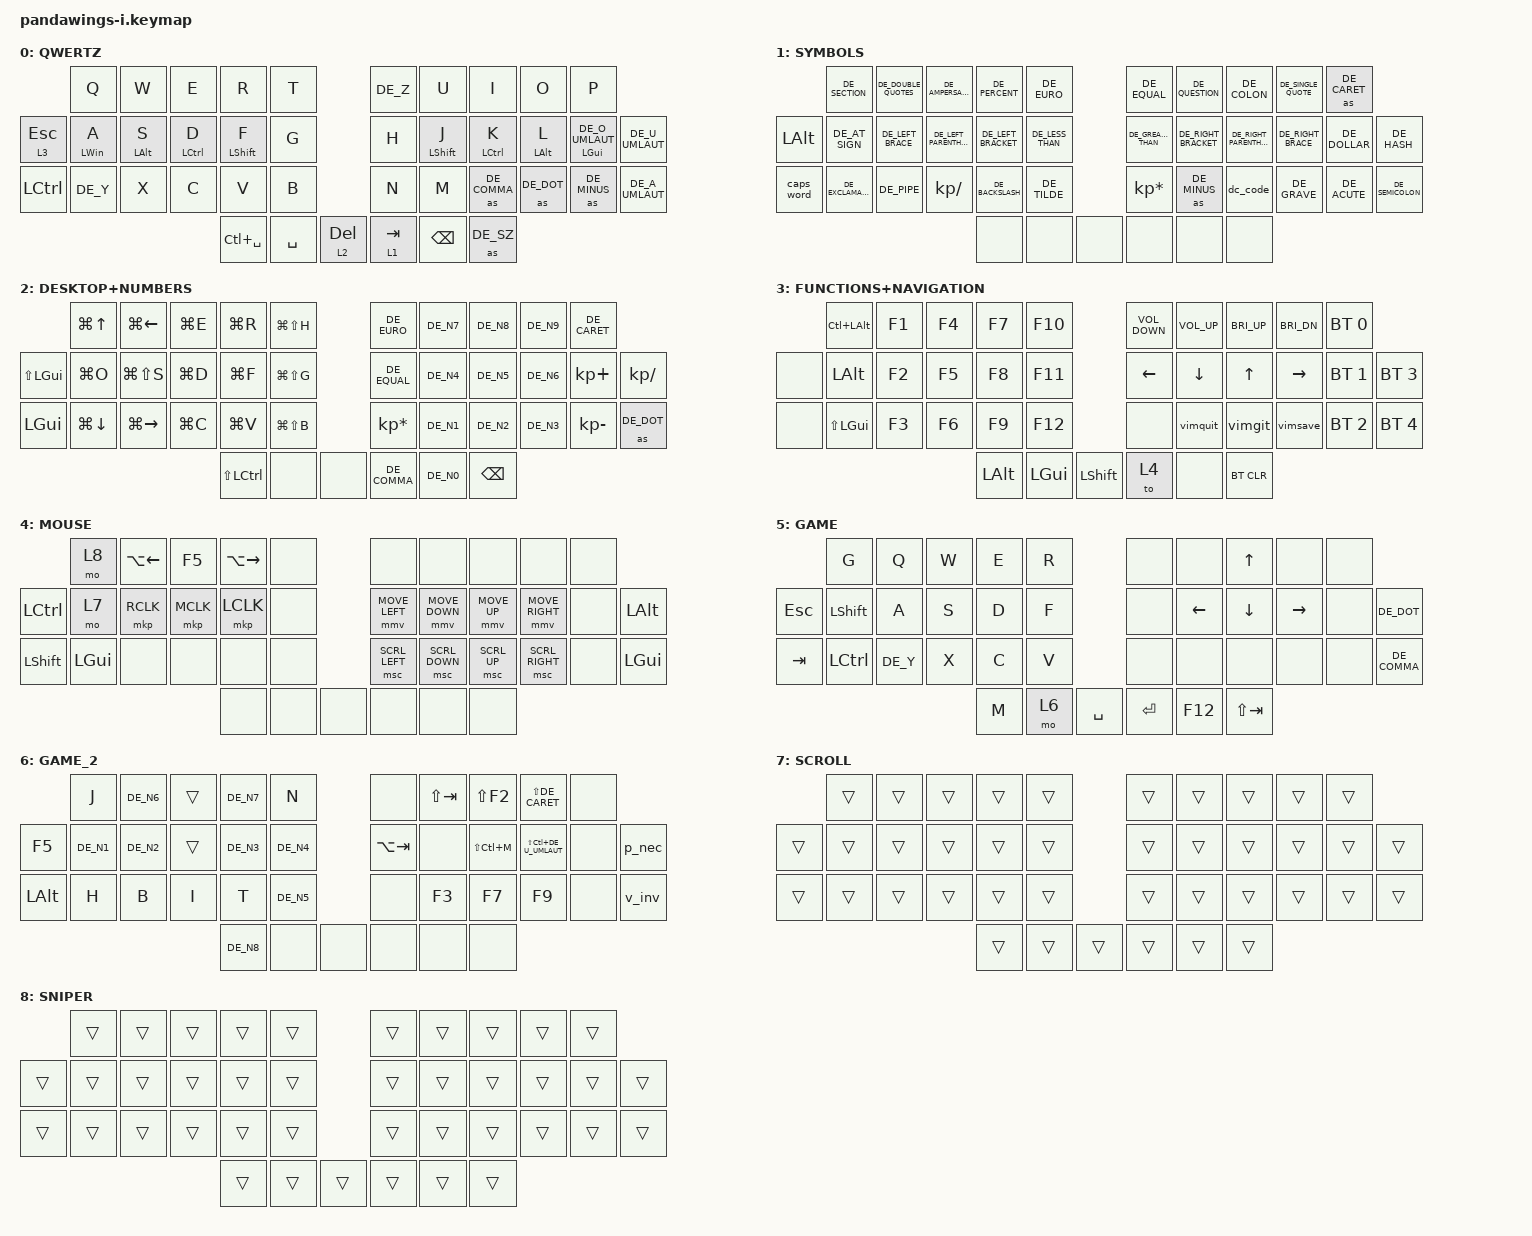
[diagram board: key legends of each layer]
#include <locale/keys_de.h>
#include <behaviors.dtsi>
#include <dt-bindings/zmk/bt.h>
#include <dt-bindings/zmk/keys.h>
#include <dt-bindings/zmk/pointing.h>
#include "keys_de.h"

#define ZMK_POINTING_DEFAULT_MOVE_VAL 800   // default: 600
#define ZMK_POINTING_DEFAULT_SCRL_VAL 10    // default: 10

// --- Some Links:
// https://github.com/urob/zmk-config#timeless-homerow-mods
// &lt &mt from https://github.com/urob/zmk-config/blob/main/config/base.keymap
// Hold-Tap behaviors: hold-preferred, balanced, tap-preferred, tap-unless-interrupted

&caps_word { continue-list = <DELETE DEL BACKSPACE MINUS KP_MINUS SLASH QUESTION SEMICOLON LEFT_BRACKET RIGHT_BRACKET LEFT_BRACE RIGHT_BRACE SINGLE_QUOTE DE_A_UMLAUT DE_O_UMLAUT DE_U_UMLAUT>; };

&lt { flavor = "hold-preferred"; };

&sk {
    quick-release;
    lazy;
};

/ {
    behaviors {
        ht_as: autoshift_hold_tap {
            compatible = "zmk,behavior-hold-tap";
            #binding-cells = <2>;
            tapping-term-ms = <200>;
            bindings = <&shifted>, <&kp>;
        };

        hmo: homerow_mods_others {
            compatible = "zmk,behavior-hold-tap";
            #binding-cells = <2>;
            flavor = "tap-unless-interrupted";
            tapping-term-ms = <250>;
            quick-tap-ms = <200>;
            bindings = <&kp>, <&kp>;

            require-prior-idle-ms = <500>;
        };

        hms: homerow_mods_shift {
            compatible = "zmk,behavior-hold-tap";
            #binding-cells = <2>;
            flavor = "tap-unless-interrupted";
            tapping-term-ms = <250>;
            quick-tap-ms = <200>;
            bindings = <&kp>, <&kp>;

            require-prior-idle-ms = <50>;
        };

        hml: home_row_mod_left {
            #binding-cells = <2>;
            bindings = <&kp>, <&kp>;
            compatible = "zmk,behavior-hold-tap";
            flavor = "tap-unless-interrupted";
            hold-trigger-key-positions = <5 6 7 8 9 16 17 18 19 20 21 28 29 30 31 32 33 37 38 39>; // List of keys on the right side of the keyboard
            // hold-trigger-on-release;
            quick-tap-ms = <200>;
            require-prior-idle-ms = <100>;
            tapping-term-ms = <280>;
        };

        hmr: home_row_mod_right {
            #binding-cells = <2>;
            bindings = <&kp>, <&kp>;
            compatible = "zmk,behavior-hold-tap";
            flavor = "tap-unless-interrupted";
            hold-trigger-key-positions = <0 1 2 3 4 10 11 12 13 14 15 22 23 24 25 26 27 34 35 36>; // List of keys on the left side of the keyboard
            // hold-trigger-on-release;
            quick-tap-ms = <200>;
            require-prior-idle-ms = <100>;
            tapping-term-ms = <280>;
        };
    };

    combos {
        compatible = "zmk,combos";

        to_base_layer {
            bindings = <&to 0>;
            key-positions = <35 36>;
        };

        to_game_layer {
            bindings = <&to 5>;
            key-positions = <34 35>;
        };

        select_all {
            bindings = <&kp LC(A)>;
            key-positions = <23 24>;
            layers = <0>;
        };

        copy {
            bindings = <&kp LC(C)>;
            key-positions = <24 25>;
            layers = <0>;
        };

        paste {
            bindings = <&kp LC(V)>;
            key-positions = <25 26>;
            layers = <0>;
        };

        cut {
            bindings = <&kp LC(X)>;
            key-positions = <26 27>;
            layers = <0>;
        };

        line_start {
            bindings = <&kp HOME>;
            key-positions = <12 13 14>;
            layers = <0>;
        };

        line_end {
            bindings = <&kp END>;
            key-positions = <17 18 19>;
            layers = <0>;
        };

        return {
            bindings = <&kp RETURN>;
            key-positions = <36 37>;
            layers = <0>;
        };

        shift_return {
            bindings = <&kp LS(RETURN)>;
            key-positions = <10 22>;
            layers = <0>;
        };

        controller_reset {
            bindings = <&bootloader>;
            key-positions = <1 2 3>;
            layers = <3>;
        };
    };

    macros {
        v_inv: vrising_clear_inventory {
            compatible = "zmk,behavior-macro";
            #binding-cells = <0>;
            wait-ms = <100>;
            tap-ms = <100>;
            bindings = <&kp E &kp R &mkp RCLK &kp E &kp R &mkp RCLK &kp E &kp R &mkp RCLK &kp E &kp R &mkp RCLK &kp E &kp R &mkp RCLK &kp E &kp R &mkp RCLK &kp E &kp R &mkp RCLK &kp E &kp R &mkp RCLK &kp E &kp R &mkp RCLK &kp E &kp R &mkp RCLK &kp E>;
        };

        p_nec: palworld_spawn_fix_necklaced_pals {
            compatible = "zmk,behavior-macro";
            #binding-cells = <0>;
            wait-ms = <150>;
            tap-ms = <150>;
            bindings = <&kp DE_N3 &kp E &kp DE_N3 &kp E &kp DE_N3 &kp E &kp DE_N3 &kp E &kp DE_N3 &kp E &kp D &kp W>;
        };

        shifted: macro_shifted_kp {
            #binding-cells = <1>;
            compatible = "zmk,behavior-macro-one-param";
            bindings =
                <&macro_press>,
                <&kp LSHFT &macro_param_1to1>,
                <&macro_tap>,
                <&kp MACRO_PLACEHOLDER>,
                <&macro_release>,
                <&kp LEFT_SHIFT>;
        };

        as: autoshift {
            compatible = "zmk,behavior-macro-one-param";
            #binding-cells = <1>;
            bindings =
                <&macro_press>,
                <&macro_param_1to1 &macro_param_1to2 &ht_as MACRO_PLACEHOLDER MACRO_PLACEHOLDER>,
                <&macro_pause_for_release>,
                <&macro_release>,
                <&macro_param_1to1 &macro_param_1to2 &ht_as MACRO_PLACEHOLDER MACRO_PLACEHOLDER>;
        };

        dc_code: discord_codesegment {
            compatible = "zmk,behavior-macro";
            #binding-cells = <0>;
            bindings = <&kp DE_GRAVE &kp DE_GRAVE>;
        };

        vimsave: vimsave {
            compatible = "zmk,behavior-macro";
            #binding-cells = <0>;
            bindings = <&kp ESCAPE &kp DE_COLON &kp W &kp A &kp RETURN>;
        };

        vimquit: vimquit {
            compatible = "zmk,behavior-macro";
            #binding-cells = <0>;
            bindings = <&kp ESCAPE &kp DE_COLON &kp Q &kp A &kp RETURN>;
        };

        vimgit: vimgit {
            compatible = "zmk,behavior-macro";
            #binding-cells = <0>;
            bindings = <&kp ESCAPE &kp DE_COLON &kp W &kp RETURN &kp SPACE &kp L &kp G>;
        };
    };

    keymap {
        compatible = "zmk,keymap";

        //                    | SW2  | SW3  | SW4  | SW5  | SW6  |  | SW27 | SW26 | SW25 | SW24 | SW23 | 
        //             | SW7  | SW8  | SW9  | SW10 | SW11 | SW12 |  | SW33 | SW32 | SW31 | SW30 | SW29 | SW34 |
        //             | SW13 | SW14 | SW15 | SW16 | SW17 | SW18 |  | SW39 | SW38 | SW37 | SW36 | SW35 | SW28 |
        //                                  | SW19 | SW20 | SW21 |  | SW42 | SW41 | SW40 |

        QWERTZ {
            bindings = <
//                   ┌─────────────┬─────────────┬─────────────────────┬─────────────┬─────┐                         ┌──────┬─────────────┬─────────────────────┬─────────────┬─────────────────────────┐
//                   │      Q      │      W      │          E          │      R      │  T  │                         │ DE_Z │      U      │          I          │      O      │            P            │
//    ┌──────────────┼─────────────┼─────────────┼─────────────────────┼─────────────┼─────┤                         ├──────┼─────────────┼─────────────────────┼─────────────┼─────────────────────────┼───────────────┐
//    │   lt 3 esc   │ &hmo lgui A │ &hmo lalt S │ &hmo left_CONTROL D │ &hml lsft F │  G  │                         │  H   │ &hmr lsft J │ &hmo left_CONTROL K │ &hmo lalt L │ &hmo lgui DE_O_UMlaltUT │ DE_U_UMlaltUT │
//    ├──────────────┼─────────────┼─────────────┼─────────────────────┼─────────────┼─────┤                         ├──────┼─────────────┼─────────────────────┼─────────────┼─────────────────────────┼───────────────┤
//    │ left_CONTROL │    DE_Y     │      X      │          C          │      V      │  B  │                         │  N   │      M      │      &as DE_,       │  &as DE_.   │        &as DE_-         │ DE_A_UMlaltUT │
//    └──────────────┴─────────────┴─────────────┴─────────────────────┼─────────────┼─────┼──────────┐   ┌──────────┼──────┼─────────────┼─────────────────────┴─────────────┴─────────────────────────┴───────────────┘
//                                                                     │  lctl(spc)  │ spc │ lt 2 del │   │ lt 1 tab │ bspc │  &as DE_SZ  │
//                                                                     └─────────────┴─────┴──────────┘   └──────────┴──────┴─────────────┘
                     &kp Q             &kp W             &kp E                 &kp R               &kp T                                      &kp DE_Z        &kp U               &kp I                 &kp O             &kp P
  &lt 3 ESCAPE       &hmo LEFT_WIN A   &hmo LEFT_ALT S   &hmo LEFT_CONTROL D   &hml LEFT_SHIFT F   &kp G                                      &kp H           &hmr LEFT_SHIFT J   &hmo LEFT_CONTROL K   &hmo LEFT_ALT L   &hmo LEFT_GUI DE_O_UMLAUT   &kp DE_U_UMLAUT
  &kp LEFT_CONTROL   &kp DE_Y          &kp X             &kp C                 &kp V               &kp B                                      &kp N           &kp M               &as DE_COMMA          &as DE_DOT        &as DE_MINUS                &kp DE_A_UMLAUT
                                                                               &kp LC(SPACE)       &kp SPACE   &lt 2 DELETE       &lt 1 TAB   &kp BACKSPACE   &as DE_SZ
            >;
        };

        SYMBOLS {
            bindings = <
//            ┌────────────┬──────┬──────┬──────┬─────────┐               ┌──────┬──────────┬──────────┬──────┬──────────┐
//            │ DE_SECTION │ DE_" │ DE_& │ DE_% │ DE_EURO │               │ DE_= │   DE_?   │   DE_:   │ DE_' │ &as DE_^ │
//    ┌───────┼────────────┼──────┼──────┼──────┼─────────┤               ├──────┼──────────┼──────────┼──────┼──────────┼──────┐
//    │ lalt  │    DE_@    │ DE_{ │ DE_( │ DE_[ │  DE_<   │               │ DE_> │   DE_]   │   DE_)   │ DE_} │   DE_$   │ DE_# │
//    ├───────┼────────────┼──────┼──────┼──────┼─────────┤               ├──────┼──────────┼──────────┼──────┼──────────┼──────┤
//    │ capsw │    DE_!    │ DE_| │ kp_/ │ DE_\ │  DE_~   │               │ kp_* │ &as DE_- │ &dc_code │ DE_` │ DE_ACUTE │ DE_; │
//    └───────┴────────────┴──────┴──────┼──────┼─────────┼─────┐   ┌─────┼──────┼──────────┼──────────┴──────┴──────────┴──────┘
//                                       │      │         │     │   │     │      │          │
//                                       └──────┴─────────┴─────┘   └─────┴──────┴──────────┘
                 &kp DE_SECTION       &kp DE_DOUBLE_QUOTES   &kp DE_AMPERSAND          &kp DE_PERCENT        &kp DE_EURO                            &kp DE_EQUAL          &kp DE_QUESTION        &kp DE_COLON               &kp DE_SINGLE_QUOTE   &as DE_CARET
  &kp LEFT_ALT   &kp DE_AT_SIGN       &kp DE_LEFT_BRACE      &kp DE_LEFT_PARENTHESIS   &kp DE_LEFT_BRACKET   &kp DE_LESS_THAN                       &kp DE_GREATER_THAN   &kp DE_RIGHT_BRACKET   &kp DE_RIGHT_PARENTHESIS   &kp DE_RIGHT_BRACE    &kp DE_DOLLAR   &kp DE_HASH
  &caps_word     &kp DE_EXCLAMATION   &kp DE_PIPE            &kp KP_SLASH              &kp DE_BACKSLASH      &kp DE_TILDE                           &kp KP_ASTERISK       &as DE_MINUS           &dc_code                   &kp DE_GRAVE          &kp DE_ACUTE    &kp DE_SEMICOLON
                                                                                       &none                 &none              &none       &none   &none                 &none
            >;
        };

        DESKTOP+NUMBERS {
            bindings = <
//                 ┌────────────┬───────────────┬─────────┬────────────────────┬───────────────┐                ┌─────────┬──────┬──────┬──────┬──────┐
//                 │  lgui(up)  │  lgui(left)   │ lgui(E) │      lgui(R)       │ lgui(lsft(H)) │                │ DE_EURO │ DE_7 │ DE_8 │ DE_9 │ DE_^ │
//    ┌────────────┼────────────┼───────────────┼─────────┼────────────────────┼───────────────┤                ├─────────┼──────┼──────┼──────┼──────┼──────────┐
//    │ lsft(lgui) │  lgui(O)   │ lgui(lsft(S)) │ lgui(D) │      lgui(F)       │ lgui(lsft(G)) │                │  DE_=   │ DE_4 │ DE_5 │ DE_6 │ kp_+ │   kp_/   │
//    ├────────────┼────────────┼───────────────┼─────────┼────────────────────┼───────────────┤                ├─────────┼──────┼──────┼──────┼──────┼──────────┤
//    │    lgui    │ lgui(down) │  lgui(rght)   │ lgui(C) │      lgui(V)       │ lgui(lsft(B)) │                │  kp_*   │ DE_1 │ DE_2 │ DE_3 │ kp_- │ &as DE_. │
//    └────────────┴────────────┴───────────────┴─────────┼────────────────────┼───────────────┼─────┐   ┌──────┼─────────┼──────┼──────┴──────┴──────┴──────────┘
//                                                        │ lsft(left_CONTROL) │               │     │   │ DE_, │  DE_0   │ bspc │
//                                                        └────────────────────┴───────────────┴─────┘   └──────┴─────────┴──────┘
                     &kp LG(UP_ARROW)     &kp LG(LEFT_ARROW)    &kp LG(E)   &kp LG(R)              &kp LG(LS(H))                              &kp DE_EURO       &kp DE_N7       &kp DE_N8   &kp DE_N9   &kp DE_CARET
  &kp LS(LEFT_GUI)   &kp LG(O)            &kp LG(LS(S))         &kp LG(D)   &kp LG(F)              &kp LG(LS(G))                              &kp DE_EQUAL      &kp DE_N4       &kp DE_N5   &kp DE_N6   &kp KP_PLUS    &kp KP_SLASH
  &kp LEFT_GUI       &kp LG(DOWN_ARROW)   &kp LG(RIGHT_ARROW)   &kp LG(C)   &kp LG(V)              &kp LG(LS(B))                              &kp KP_ASTERISK   &kp DE_N1       &kp DE_N2   &kp DE_N3   &kp KP_MINUS   &as DE_DOT
                                                                            &kp LS(LEFT_CONTROL)   &none           &none       &kp DE_COMMA   &kp DE_N0         &kp BACKSPACE
            >;
        };

        FUNCTIONS+NAVIGATION {
            bindings = <
//          ┌────────────┬────┬────┬──────┬──────┐                 ┌──────┬──────────┬─────────┬──────────┬──────────┐
//          │ lctl(lalt) │ f1 │ f4 │  f7  │ f10  │                 │ vold │   volu   │  bri+   │   bri-   │ bt_sel 0 │
//    ┌─────┼────────────┼────┼────┼──────┼──────┤                 ├──────┼──────────┼─────────┼──────────┼──────────┼──────────┐
//    │     │    lalt    │ f2 │ f5 │  f8  │ f11  │                 │ left │   down   │   up    │   rght   │ bt_sel 1 │ bt_sel 3 │
//    ├─────┼────────────┼────┼────┼──────┼──────┤                 ├──────┼──────────┼─────────┼──────────┼──────────┼──────────┤
//    │     │ lsft(lgui) │ f3 │ f6 │  f9  │ f12  │                 │      │ &vimquit │ &vimgit │ &vimsave │ bt_sel 2 │ bt_sel 4 │
//    └─────┴────────────┴────┴────┼──────┼──────┼──────┐   ┌──────┼──────┼──────────┼─────────┴──────────┴──────────┴──────────┘
//                                 │ lalt │ lgui │ lsft │   │ to 4 │      │  bt_clr  │
//                                 └──────┴──────┴──────┘   └──────┴──────┴──────────┘
          &kp LC(LEFT_ALT)   &kp F1   &kp F4   &kp F7         &kp F10                            &kp C_VOLUME_DOWN   &kp C_VOLUME_UP   &kp C_BRI_UP   &kp C_BRI_DN      &bt BT_SEL 0
  &none   &kp LEFT_ALT       &kp F2   &kp F5   &kp F8         &kp F11                            &kp LEFT_ARROW      &kp DOWN_ARROW    &kp UP_ARROW   &kp RIGHT_ARROW   &bt BT_SEL 1   &bt BT_SEL 3
  &none   &kp LS(LEFT_GUI)   &kp F3   &kp F6   &kp F9         &kp F12                            &none               &vimquit          &vimgit        &vimsave          &bt BT_SEL 2   &bt BT_SEL 4
                                               &kp LEFT_ALT   &kp LGUI   &kp LSHFT       &to 4   &none               &bt BT_CLR
            >;
        };

        MOUSE {
            bindings = <
//           ┌──────┬────────────┬──────┬────────────┬─────┐               ┌────────────────┬────────────────┬──────────────┬────────────────┬─────┐
//           │ mo 8 │ lalt(left) │  f5  │ lalt(rght) │     │               │                │                │              │                │     │
//    ┌──────┼──────┼────────────┼──────┼────────────┼─────┤               ├────────────────┼────────────────┼──────────────┼────────────────┼─────┼──────┐
//    │ lctl │ mo 7 │    rclk    │ mclk │    lclk    │     │               │ &mmv MOVE_left │ &mmv MOVE_down │ &mmv MOVE_up │ &mmv MOVE_rght │     │ lalt │
//    ├──────┼──────┼────────────┼──────┼────────────┼─────┤               ├────────────────┼────────────────┼──────────────┼────────────────┼─────┼──────┤
//    │ lsft │ lgui │            │      │            │     │               │ &msc SCRL_left │ &msc SCRL_down │ &msc SCRL_up │ &msc SCRL_rght │     │ lgui │
//    └──────┴──────┴────────────┴──────┼────────────┼─────┼─────┐   ┌─────┼────────────────┼────────────────┼──────────────┴────────────────┴─────┴──────┘
//                                      │            │     │     │   │     │                │                │
//                                      └────────────┴─────┴─────┘   └─────┴────────────────┴────────────────┘
              &mo 8      &kp LA(LEFT_ARROW)   &kp F5      &kp LA(RIGHT_ARROW)   &none                       &none            &none            &none          &none             &none
  &kp LCTRL   &mo 7      &mkp RCLK            &mkp MCLK   &mkp LCLK             &none                       &mmv MOVE_LEFT   &mmv MOVE_DOWN   &mmv MOVE_UP   &mmv MOVE_RIGHT   &none   &kp LEFT_ALT
  &kp LSHFT   &kp LGUI   &none                &none       &none                 &none                       &msc SCRL_LEFT   &msc SCRL_DOWN   &msc SCRL_UP   &msc SCRL_RIGHT   &none   &kp LGUI
                                                          &none                 &none   &none       &none   &none            &none
            >;
        };

        GAME {
            bindings = <
//          ┌──────┬──────┬───┬───┬──────┐               ┌─────┬───────────┬──────┬──────┬─────┐
//          │  G   │  Q   │ W │ E │  R   │               │     │           │  up  │      │     │
//    ┌─────┼──────┼──────┼───┼───┼──────┤               ├─────┼───────────┼──────┼──────┼─────┼──────┐
//    │ esc │ lsft │  A   │ S │ D │  F   │               │     │   left    │ down │ rght │     │ DE_. │
//    ├─────┼──────┼──────┼───┼───┼──────┤               ├─────┼───────────┼──────┼──────┼─────┼──────┤
//    │ tab │ lctl │ DE_Y │ X │ C │  V   │               │     │           │      │      │     │ DE_, │
//    └─────┴──────┴──────┴───┼───┼──────┼─────┐   ┌─────┼─────┼───────────┼──────┴──────┴─────┴──────┘
//                            │ M │ mo 6 │ spc │   │ ent │ f12 │ lsft(tab) │
//                            └───┴──────┴─────┘   └─────┴─────┴───────────┘
               &kp G            &kp Q      &kp W   &kp E   &kp R                                &none     &none         &kp UP           &none       &none
  &kp ESCAPE   &kp LEFT_SHIFT   &kp A      &kp S   &kp D   &kp F                                &none     &kp LEFT      &kp DOWN_ARROW   &kp RIGHT   &none   &kp DE_DOT
  &kp TAB      &kp LCTRL        &kp DE_Y   &kp X   &kp C   &kp V                                &none     &none         &none            &none       &none   &kp DE_COMMA
                                                   &kp M   &mo 6   &kp SPACE       &kp RETURN   &kp F12   &kp LS(TAB)
            >;
        };

        GAME_2 {
            bindings = <
//           ┌──────┬──────┬─────┬──────┬──────┐               ┌───────────┬───────────┬───────────────┬───────────────────────────┬─────┐
//           │  J   │ DE_6 │     │ DE_7 │  N   │               │           │ lsft(tab) │   lsft(f2)    │        lsft(DE_^)         │     │
//    ┌──────┼──────┼──────┼─────┼──────┼──────┤               ├───────────┼───────────┼───────────────┼───────────────────────────┼─────┼────────┐
//    │  f5  │ DE_1 │ DE_2 │     │ DE_3 │ DE_4 │               │ lalt(tab) │           │ lsft(lctl(M)) │ lsft(lctl(DE_U_UMlaltUT)) │     │ &p_nec │
//    ├──────┼──────┼──────┼─────┼──────┼──────┤               ├───────────┼───────────┼───────────────┼───────────────────────────┼─────┼────────┤
//    │ lalt │  H   │  B   │  I  │  T   │ DE_5 │               │           │    f3     │      f7       │            f9             │     │ &v_inv │
//    └──────┴──────┴──────┴─────┼──────┼──────┼─────┐   ┌─────┼───────────┼───────────┼───────────────┴───────────────────────────┴─────┴────────┘
//                               │ DE_8 │      │     │   │     │           │           │
//                               └──────┴──────┴─────┘   └─────┴───────────┴───────────┘
                 &kp J       &kp DE_N6   &trans   &kp DE_N7   &kp N                           &none         &kp LS(TAB)   &kp LS(F2)      &kp LS(DE_CARET)          &none
  &kp F5         &kp DE_N1   &kp DE_N2   &trans   &kp DE_N3   &kp DE_N4                       &kp LA(TAB)   &none         &kp LS(LC(M))   &kp LS(LC(DE_U_UMLAUT))   &none   &p_nec
  &kp LEFT_ALT   &kp H       &kp B       &kp I    &kp T       &kp DE_N5                       &none         &kp F3        &kp F7          &kp F9                    &none   &v_inv
                                                  &kp DE_N8   &none       &none       &none   &none         &none
            >;
        };

        // scroll and sniper are for compatibilty with the charybdis layout

        SCROLL {
            bindings = <
//          ┌─────┬─────┬─────┬─────┬─────┐               ┌─────┬─────┬─────┬─────┬─────┐
//          │     │     │     │     │     │               │     │     │     │     │     │
//    ┌─────┼─────┼─────┼─────┼─────┼─────┤               ├─────┼─────┼─────┼─────┼─────┼─────┐
//    │     │     │     │     │     │     │               │     │     │     │     │     │     │
//    ├─────┼─────┼─────┼─────┼─────┼─────┤               ├─────┼─────┼─────┼─────┼─────┼─────┤
//    │     │     │     │     │     │     │               │     │     │     │     │     │     │
//    └─────┴─────┴─────┴─────┼─────┼─────┼─────┐   ┌─────┼─────┼─────┼─────┴─────┴─────┴─────┘
//                            │     │     │     │   │     │     │     │
//                            └─────┴─────┴─────┘   └─────┴─────┴─────┘
           &trans   &trans   &trans   &trans   &trans                         &trans   &trans   &trans   &trans   &trans
  &trans   &trans   &trans   &trans   &trans   &trans                         &trans   &trans   &trans   &trans   &trans   &trans
  &trans   &trans   &trans   &trans   &trans   &trans                         &trans   &trans   &trans   &trans   &trans   &trans
                                      &trans   &trans   &trans       &trans   &trans   &trans
            >;
        };

        SNIPER {
            bindings = <
//          ┌─────┬─────┬─────┬─────┬─────┐               ┌─────┬─────┬─────┬─────┬─────┐
//          │     │     │     │     │     │               │     │     │     │     │     │
//    ┌─────┼─────┼─────┼─────┼─────┼─────┤               ├─────┼─────┼─────┼─────┼─────┼─────┐
//    │     │     │     │     │     │     │               │     │     │     │     │     │     │
//    ├─────┼─────┼─────┼─────┼─────┼─────┤               ├─────┼─────┼─────┼─────┼─────┼─────┤
//    │     │     │     │     │     │     │               │     │     │     │     │     │     │
//    └─────┴─────┴─────┴─────┼─────┼─────┼─────┐   ┌─────┼─────┼─────┼─────┴─────┴─────┴─────┘
//                            │     │     │     │   │     │     │     │
//                            └─────┴─────┴─────┘   └─────┴─────┴─────┘
           &trans   &trans   &trans   &trans   &trans                         &trans   &trans   &trans   &trans   &trans
  &trans   &trans   &trans   &trans   &trans   &trans                         &trans   &trans   &trans   &trans   &trans   &trans
  &trans   &trans   &trans   &trans   &trans   &trans                         &trans   &trans   &trans   &trans   &trans   &trans
                                      &trans   &trans   &trans       &trans   &trans   &trans
            >;
        };
    };
};
